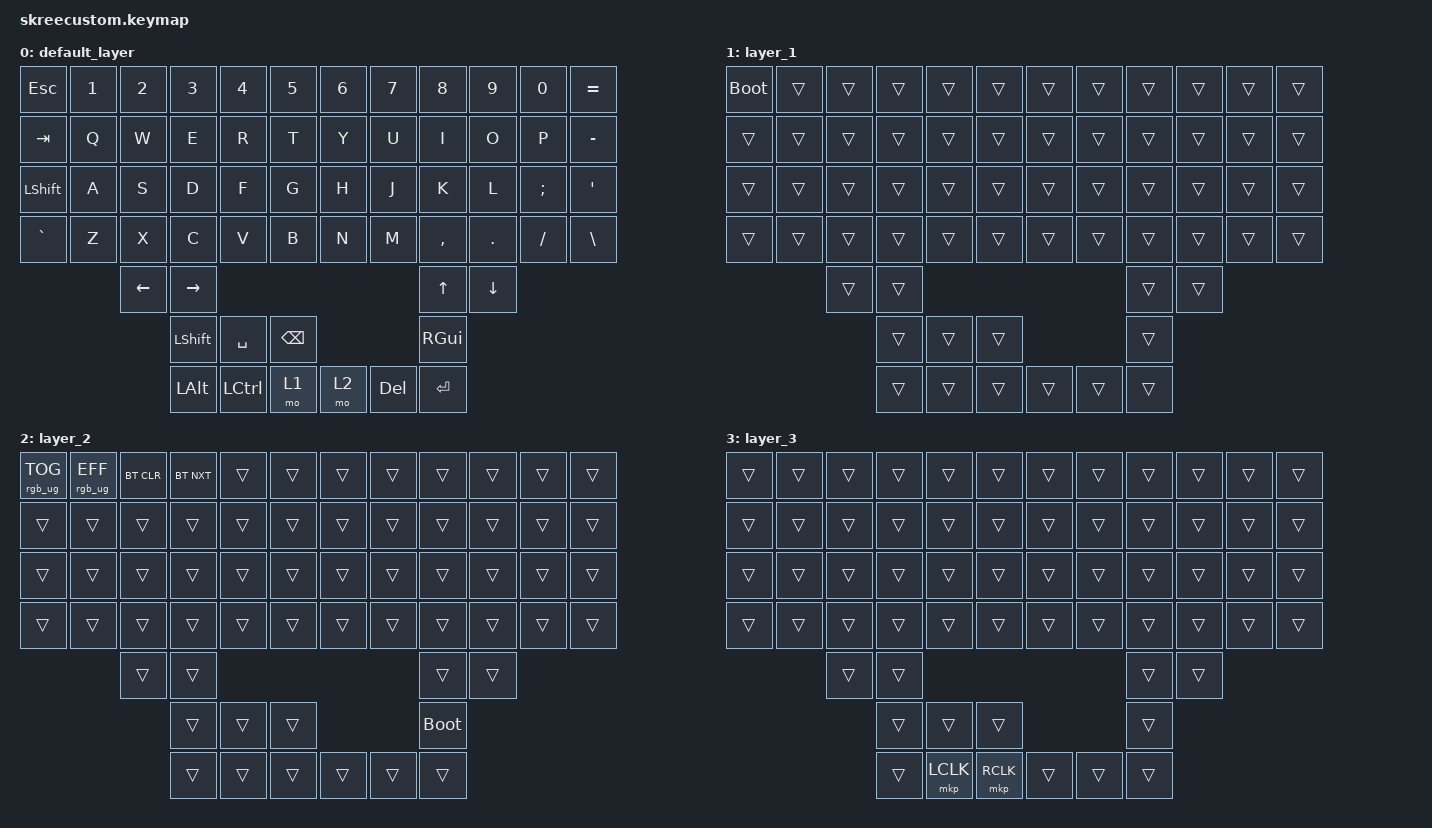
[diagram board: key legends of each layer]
/*
 * Copyright (c) 2020 The ZMK Contributors
 *
 * SPDX-License-Identifier: MIT
 */

#include <behaviors.dtsi>
#include <dt-bindings/zmk/bt.h>
#include <dt-bindings/zmk/keys.h>
#include <dt-bindings/zmk/pointing.h>
#include <dt-bindings/zmk/rgb.h>

/ {
    keymap {
        compatible = "zmk,keymap";

        default_layer {
            bindings = <
&kp ESC    &kp N1  &kp N2    &kp N3     &kp N4     &kp N5      &kp N6  &kp N7   &kp N8     &kp N9    &kp N0    &kp EQUAL
&kp TAB    &kp Q   &kp W     &kp E      &kp R      &kp T       &kp Y   &kp U    &kp I      &kp O     &kp P     &kp MINUS
&kp LSHFT  &kp A   &kp S     &kp D      &kp F      &kp G       &kp H   &kp J    &kp K      &kp L     &kp SEMI  &kp SQT
&kp GRAVE  &kp Z   &kp X     &kp C      &kp V      &kp B       &kp N   &kp M    &kp COMMA  &kp DOT   &kp FSLH  &kp BSLH
                   &kp LEFT  &kp RIGHT                                          &kp UP     &kp DOWN
                             &kp LSHFT  &kp SPACE  &kp BSPC                     &kp RGUI
                             &kp LALT   &kp LCTRL  &mo 1       &mo 2   &kp DEL  &kp RET
            >;
        };

        layer_1 {
            bindings = <
&bootloader  &trans  &trans  &trans  &trans  &trans    &trans  &trans  &trans  &trans  &trans  &trans
&trans       &trans  &trans  &trans  &trans  &trans    &trans  &trans  &trans  &trans  &trans  &trans
&trans       &trans  &trans  &trans  &trans  &trans    &trans  &trans  &trans  &trans  &trans  &trans
&trans       &trans  &trans  &trans  &trans  &trans    &trans  &trans  &trans  &trans  &trans  &trans
                     &trans  &trans                                    &trans  &trans
                             &trans  &trans  &trans                    &trans
                             &trans  &trans  &trans    &trans  &trans  &trans
            >;
        };

        layer_2 {
            bindings = <
&rgb_ug RGB_TOG  &rgb_ug RGB_EFF  &bt BT_CLR  &bt BT_NXT  &trans  &trans    &trans  &trans  &trans       &trans  &trans  &trans
&trans           &trans           &trans      &trans      &trans  &trans    &trans  &trans  &trans       &trans  &trans  &trans
&trans           &trans           &trans      &trans      &trans  &trans    &trans  &trans  &trans       &trans  &trans  &trans
&trans           &trans           &trans      &trans      &trans  &trans    &trans  &trans  &trans       &trans  &trans  &trans
                                  &trans      &trans                                        &trans       &trans
                                              &trans      &trans  &trans                    &bootloader
                                              &trans      &trans  &trans    &trans  &trans  &trans
            >;
        };

        // Auto-mouse layer: activated for 500 ms whenever the trackball moves

        layer_3 {
            bindings = <
&trans  &trans  &trans  &trans  &trans     &trans       &trans  &trans  &trans  &trans  &trans  &trans
&trans  &trans  &trans  &trans  &trans     &trans       &trans  &trans  &trans  &trans  &trans  &trans
&trans  &trans  &trans  &trans  &trans     &trans       &trans  &trans  &trans  &trans  &trans  &trans
&trans  &trans  &trans  &trans  &trans     &trans       &trans  &trans  &trans  &trans  &trans  &trans
                &trans  &trans                                          &trans  &trans
                        &trans  &trans     &trans                       &trans
                        &trans  &mkp LCLK  &mkp RCLK    &trans  &trans  &trans
            >;
        };
    };
};
